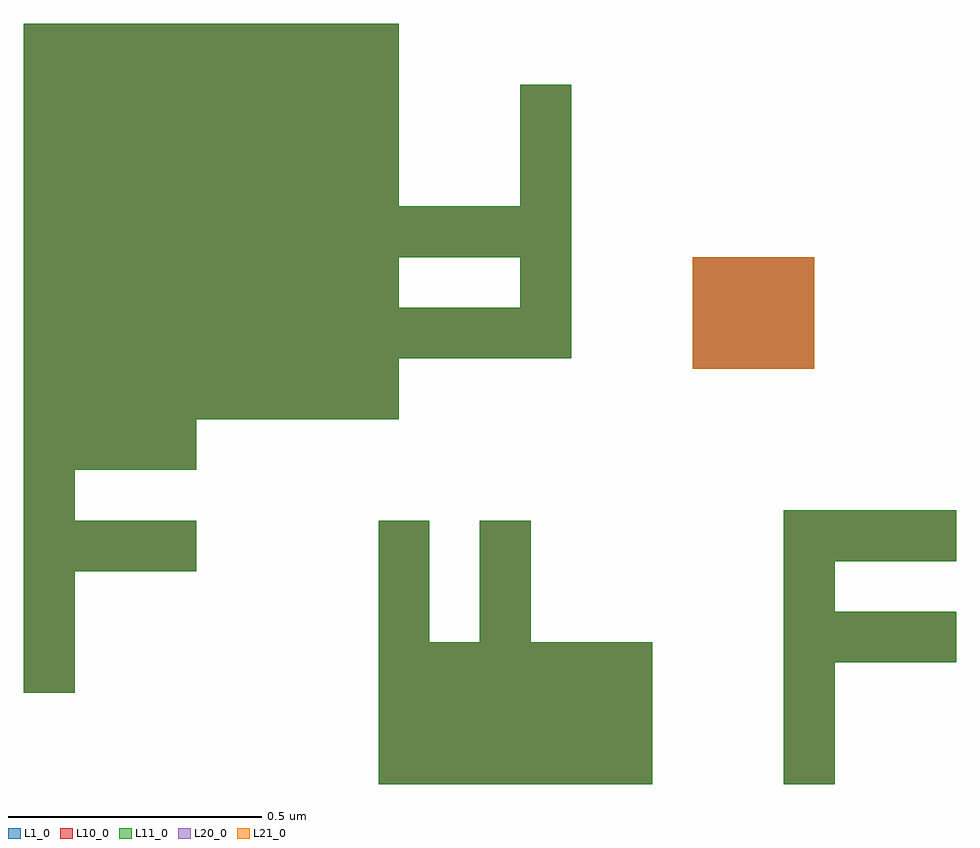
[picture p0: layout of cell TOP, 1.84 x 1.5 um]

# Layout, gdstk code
import gdstk
lib = gdstk.Library(unit=1e-6, precision=1e-09)
def R(c, l, rs):  # rectangles x0, y0, x1, y1
    for r in rs: c.add(gdstk.rectangle(r[:2], r[2:], *l))
def P(c, l, *ps):  # polygons
    for p in ps: c.add(gdstk.Polygon(p, *l))
L1_0 = (1, 0)
L10_0 = (10, 0)
L11_0 = (11, 0)
L20_0 = (20, 0)
L21_0 = (21, 0)

top = lib.new_cell('TOP')
R(top, L1_0, [(0.2,0.14,0.74,0.32), (1,0.14,1.1,0.38), (-0.5,0.32,-0.4,0.56), (0.5,0.32,0.74,0.42), (-0.5,0.86,0.24,1.64), (0.82,0.96,1.06,1.18), (0.82,0.96,1.06,1.18), (0.48,1.28,0.58,1.52)])
P(top, L1_0, [(-0.5,0.56),(-0.5,0.86),(-0.16,0.86),(-0.16,0.76),(-0.4,0.76),(-0.4,0.66),(-0.16,0.66),(-0.16,0.56),(-0.4,0.56)],
  [(0.2,0.32),(0.2,0.66),(0.3,0.66),(0.3,0.42),(0.4,0.42),(0.4,0.66),(0.5,0.66),(0.5,0.42),(0.5,0.32)],
  [(0.24,0.98),(0.24,1.08),(0.48,1.08),(0.48,1.18),(0.24,1.18),(0.24,1.28),(0.48,1.28),(0.58,1.28),(0.58,0.98)],
  [(1,0.38),(1,0.68),(1.34,0.68),(1.34,0.58),(1.1,0.58),(1.1,0.48),(1.34,0.48),(1.34,0.38),(1.1,0.38)])
R(top, L10_0, [(0.82,0.96,1.06,1.18)])
P(top, L10_0, [(0.2,0.14),(0.2,0.66),(0.3,0.66),(0.3,0.42),(0.4,0.42),(0.4,0.66),(0.5,0.66),(0.5,0.42),(0.74,0.42),(0.74,0.14)],
  [(1,0.14),(1,0.68),(1.34,0.68),(1.34,0.58),(1.1,0.58),(1.1,0.48),(1.34,0.48),(1.34,0.38),(1.1,0.38),(1.1,0.14)],
  [(-0.5,0.32),(-0.5,1.18),(0.24,1.18),(0.24,1.08),(0.48,1.08),(0.48,1.18),(-0.5,1.18),(-0.5,1.64),(0.24,1.64),(0.24,1.28),(0.48,1.28),(0.48,1.52),(0.58,1.52),(0.58,0.98),(0.24,0.98),(0.24,0.86),(-0.16,0.86),(-0.16,0.76),(-0.4,0.76),(-0.4,0.66),(-0.16,0.66),(-0.16,0.56),(-0.4,0.56),(-0.4,0.32)])
R(top, L11_0, [(0.82,0.96,1.06,1.18)])
P(top, L11_0, [(0.2,0.14),(0.2,0.66),(0.3,0.66),(0.3,0.42),(0.4,0.42),(0.4,0.66),(0.5,0.66),(0.5,0.42),(0.74,0.42),(0.74,0.14)],
  [(1,0.14),(1,0.68),(1.34,0.68),(1.34,0.58),(1.1,0.58),(1.1,0.48),(1.34,0.48),(1.34,0.38),(1.1,0.38),(1.1,0.14)],
  [(-0.5,0.32),(-0.5,1.18),(0.24,1.18),(0.24,1.08),(0.48,1.08),(0.48,1.18),(-0.5,1.18),(-0.5,1.64),(0.24,1.64),(0.24,1.28),(0.48,1.28),(0.48,1.52),(0.58,1.52),(0.58,0.98),(0.24,0.98),(0.24,0.86),(-0.16,0.86),(-0.16,0.76),(-0.4,0.76),(-0.4,0.66),(-0.16,0.66),(-0.16,0.56),(-0.4,0.56),(-0.4,0.32)])
R(top, L20_0, [(0.82,0.96,1.06,1.18)])
R(top, L21_0, [(0.82,0.96,1.06,1.18)])

lib.write_gds('TOP.gds')
